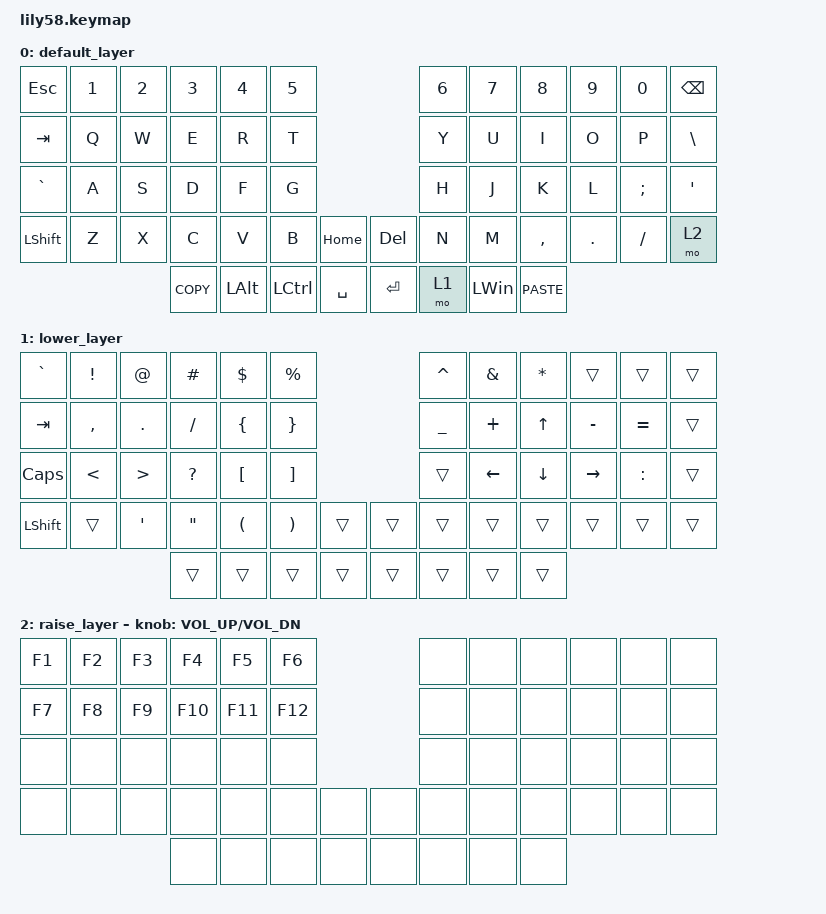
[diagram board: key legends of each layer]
/*
 * Copyright (c) 2020 The ZMK Contributors
 *
 * SPDX-License-Identifier: MIT
 */

#include <behaviors.dtsi>
#include <dt-bindings/zmk/keys.h>

/ {
    keymap {
        compatible = "zmk,keymap";

        default_layer {
            // ------------------------------------------------------------------------------------------------------------
            // |  ESC  |  1  |  2  |  3   |  4   |  5   |                   |  6   |  7    |  8    |  9   |   0   |  BSPC |
            // |  TAB  |  Q  |  W  |  E   |  R   |  T   |                   |  Y   |  U    |  I    |  O   |   P   |   -   |
            // |   `   |  A  |  S  |  D   |  F   |  G   |                   |  H   |  J    |  K    |  L   |   ;   |   '   |
            // | SHIFT |  Z  |  X  |  C   |  V   |  B   |   "["  |  |  "]"  |  N   |  M    |  ,    |  .   |   /   | RAISE |
            //                     | ALT  | ALT  | CTRL |  SPACE |  | ENTER | LOWER| GUI   | GUI   |

            bindings = <
&kp ESC    &kp N1  &kp N2  &kp N3      &kp N4    &kp N5                              &kp N6  &kp N7        &kp N8       &kp N9   &kp N0    &kp BSPC
&kp TAB    &kp Q   &kp W   &kp E       &kp R     &kp T                               &kp Y   &kp U         &kp I        &kp O    &kp P     &kp BACKSLASH
&kp GRAVE  &kp A   &kp S   &kp D       &kp F     &kp G                               &kp H   &kp J         &kp K        &kp L    &kp SEMI  &kp SQT
&kp LSHFT  &kp Z   &kp X   &kp C       &kp V     &kp B      &kp HOME     &kp DELETE  &kp N   &kp M         &kp COMMA    &kp DOT  &kp FSLH  &mo 2
                           &kp K_COPY  &kp LALT  &kp LCTRL  &kp SPACE    &kp RET     &mo 1   &kp LEFT_WIN  &kp K_PASTE
            >;
        };

        lower_layer {
            // ------------------------------------------------------------------------------------------------------------
            // |   `   |  !  |  @  |  #   |  $   |  %   |                   |  ^   |  &    |  *    |      |       |       |
            // |  TAB  |  ,  |  .  |  /   |  {   |  }   |                   |  _   |  +    |  ^    |  -   |  =    |       |
            // |  CAPS |  <  |  >  |  ?   |  [   |  ]   |                   |      |  <-   |  v    |  ->  |   :   |       |
            // |       |     |  '  |  "   |  (   |  )   |        |  |       |      |       |       |      |       |       |
            //                     |      |      |      |        |  |       |      |       |       |

            bindings = <
&kp GRAVE       &kp EXCL       &kp AT   &kp HASH   &kp DOLLAR  &kp PRCNT                    &kp CARET  &kp AMPS  &kp ASTRK  &trans     &trans     &trans
&kp TAB         &kp COMMA      &kp DOT  &kp SLASH  &kp LBRC    &kp RBRC                     &kp UNDER  &kp PLUS  &kp UP     &kp MINUS  &kp EQUAL  &trans
&kp CAPS        &kp LESS_THAN  &kp GT   &kp QMARK  &kp LBKT    &kp RBKT                     &trans     &kp LEFT  &kp DOWN   &kp RIGHT  &kp COLON  &trans
&kp LEFT_SHIFT  &trans         &kp SQT  &kp DQT    &kp LPAR    &kp RPAR   &trans    &trans  &trans     &trans    &trans     &trans     &trans     &trans
                                        &trans     &trans      &trans     &trans    &trans  &trans     &trans    &trans
            >;
        };

        raise_layer {
            // ------------------------------------------------------------------------------------------------------------
            // |   F1  |  F2 |  F3 |  F4  |  F5  |  F6  |                   |      |       |       |      |       |       |
            // |   F7  |  F8 |  F9 |  F10 |  F11 |  F12 |                   |      |       |       |      |       |       |
            // |       |     |     |      |      |      |                   |      |       |       |      |       |       |
            // |       |     |     |      |      |      |        |  |       |      |       |       |      |       |       |
            //                     |      |      |      |        |  |       |      |       |       |

            bindings = <
&kp F1  &kp F2  &kp F3  &kp F4   &kp F5   &kp F6                   &none  &none  &none  &none  &none  &none
&kp F7  &kp F8  &kp F9  &kp F10  &kp F11  &kp F12                  &none  &none  &none  &none  &none  &none
&none   &none   &none   &none    &none    &none                    &none  &none  &none  &none  &none  &none
&none   &none   &none   &none    &none    &none    &none    &none  &none  &none  &none  &none  &none  &none
                        &none    &none    &none    &none    &none  &none  &none  &none
            >;

            sensor-bindings = <&inc_dec_kp C_VOL_UP C_VOL_DN>;
        };
    };
};
